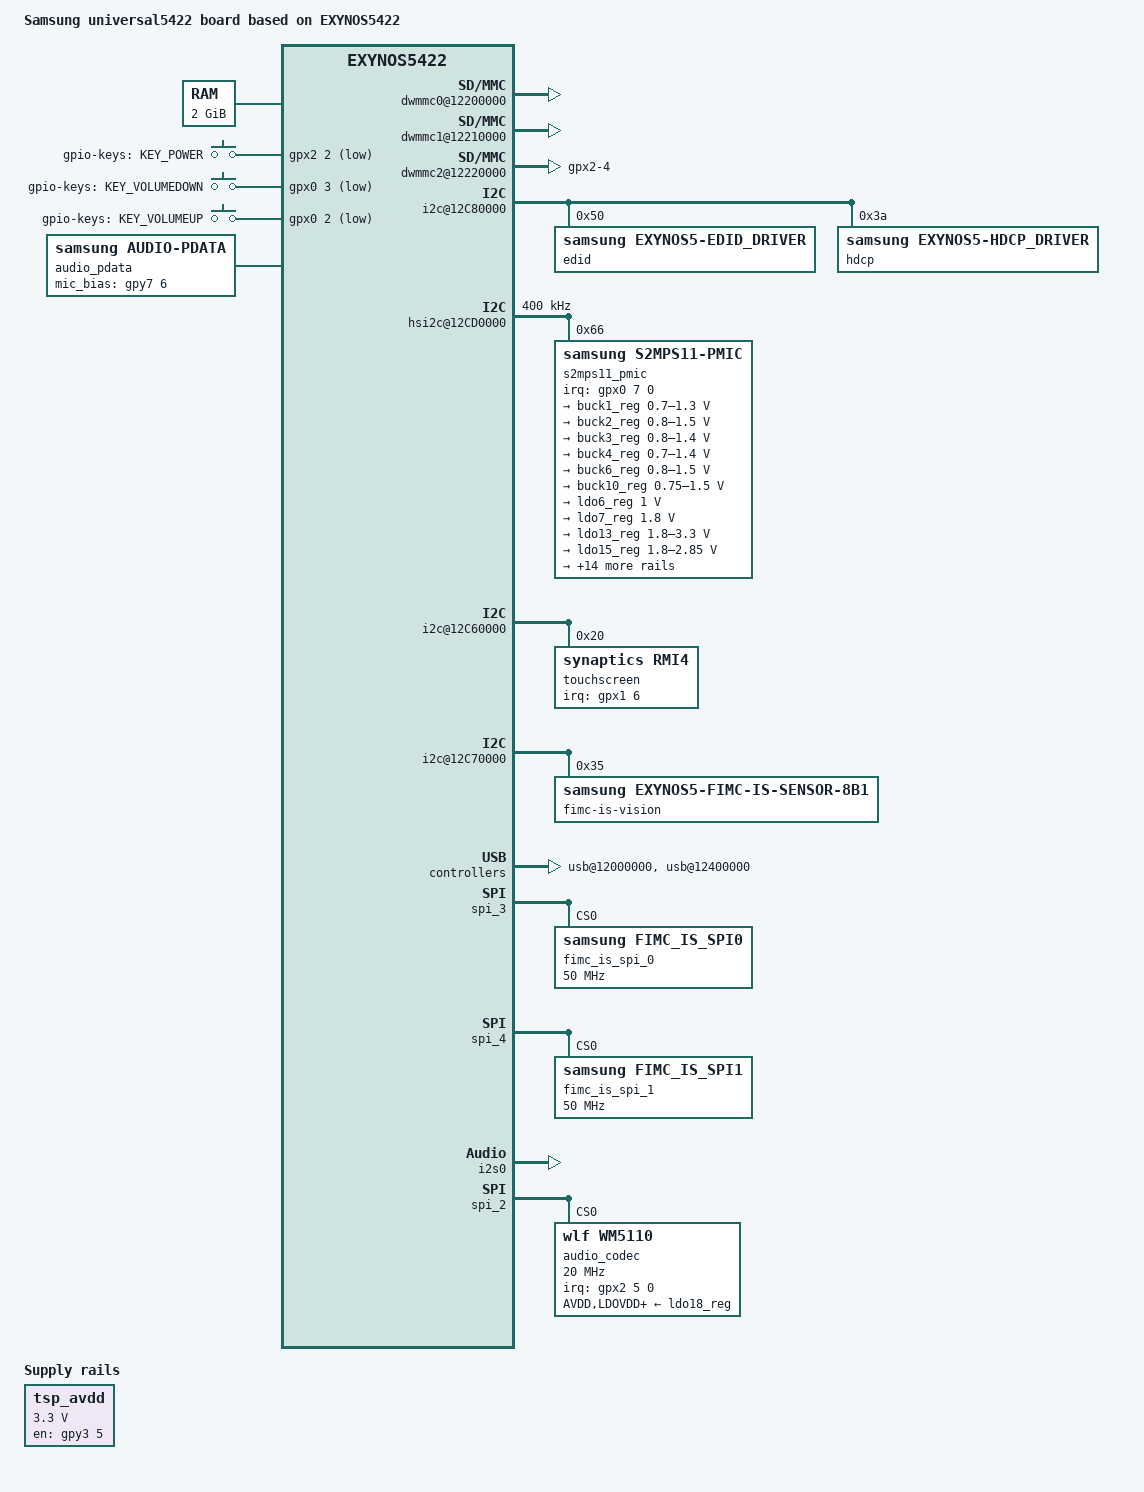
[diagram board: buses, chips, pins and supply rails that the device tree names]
/*
 * SAMSUNG universal5422 board device tree source
 *
 * Copyright (c) 2013 Samsung Electronics Co., Ltd.
 *             http://www.samsung.com
 *
 * This program is free software; you can redistribute it and/or modify
 * it under the terms of the GNU General Public License version 2 as
 * published by the Free Software Foundation.
*/

/dts-v1/;
#include "exynos5422_evt0.dtsi"

/ {
	model = "Samsung universal5422 board based on EXYNOS5422";
	compatible = "samsung,universal5422", "samsung,exynos5422";

	memory {
		reg = <0x40000000 0x80000000>;
	};

	chosen {
		bootargs = "console=ttySAC2,115200 vmalloc=512M ess_setup=0x46000000";
	};

	fixed-rate-clocks {
		oscclk {
			compatible = "samsung,exynos5422-oscclk";
			clock-frequency = <24000000>;
		};
	};

	rtc {
		status = "okay";
	};

	dwmmc0@12200000 {
		status = "okay";
		num-slots = <1>;
		broken-cd;
		bypass-smu;
		fixed_volt;
		only_once_tune;
		extra_tuning;
		supports-highspeed;
		supports-hs200-1-8v-mode;
		supports-ddr200-1-8v-mode;
		enable-cache-control;
		sw_data_timeout;
		fifo-depth = <0x40>;
		card-detect-delay = <200>;
		qos_int_level = <222000>;
		samsung,dw-mshc-ciu-div = <3>;
		samsung,dw-mshc-sdr-timing = <3 0 4 0>;
		samsung,dw-mshc-ddr-timing = <3 0 2 0>;
		samsung,dw-mshc-hs200-timing = <3 0 2 0>;
		samsung,dw-mshc-ddr200-timing = <1 1 2 0>;
		clk_pin = "gpc0-0";
		clk_addr = "13410000.pinctrl";
		clk_val = <0x3>;
		clk_str_num = <4>;
		num-ref-clks = <8>;
		ciu_clkin = <20812500 41625000 41625000 83250000 166500000 83250000 166500000 333000000>;
		pinctrl-names = "default";
		pinctrl-0 = <&sd0_clk &sd0_cmd &sd0_rdqs &sd0_bus1 &sd0_bus4 &sd0_bus8>;

		slot@0 {
			reg = <0>;
			bus-width = <8>;
		};
	};

	dwmmc1@12210000 {
		status = "okay";
		num-slots = <1>;
		fixed_volt;
		only_once_tune;
		supports-highspeed;
		sw_data_timeout;
		fifo-depth = <0x40>;
		card-detect-delay = <200>;
		qos_int_level = <222000>;
		samsung,dw-mshc-ciu-div = <3>;
		samsung,dw-mshc-sdr-timing = <3 0 2 0>;
		samsung,dw-mshc-ddr-timing = <3 0 2 0>;
		clk_pin = "gpc1-0";
		clk_addr = "13410000.pinctrl";
		clk_val = <0x3>;
		clk_str_num = <4>;
		num-ref-clks = <8>;
		ciu_clkin = <25000000 50000000 50000000 100000000 200000000 100000000 200000000 400000000>;
		pinctrl-names = "default";
		pinctrl-0 = <&sd1_clk &sd1_cmd &sd1_bus1 &sd1_bus4>;

		slot@0 {
			reg = <0>;
			bus-width = <4>;
		};
	};


	dwmmc2@12220000 {
		status = "okay";
		num-slots = <1>;
		supports-highspeed;
		sw_data_timeout;
		fifo-depth = <0x40>;
		card-detect-delay = <200>;
		qos_int_level = <222000>;
		samsung,dw-mshc-ciu-div = <3>;
		samsung,dw-mshc-sdr-timing = <3 0 4 0>;
		samsung,dw-mshc-ddr-timing = <3 0 2 0>;
		clk_pin = "gpc2-0";
		clk_addr = "13410000.pinctrl";
		clk_val = <0x3>;
		clk_str_num = <4>;
		num-ref-clks = <8>;
		ciu_clkin = <20812500 41625000 41625000 83250000 166500000 83250000 166500000 333000000>;
		pinctrl-names = "default";
		pinctrl-0 = <&sd2_clk &sd2_cmd &sd2_cd &sd2_bus1 &sd2_bus4 &dwmmc2_cd_irq>;

		gpio-controller;
		#gpio-cells = <2>;
		cd-gpio = <&gpx2 4 0xf>;

		slot@0 {
			reg = <0>;
			bus-width = <4>;
			disable-wp;
		};
	};

	pinctrl@13400000 {
		pmic_irq: pmic-irq {
			samsung,pins = "gpx0-7";
			samsung,pin-pud = <3>;
			samsung,pin-drv = <3>;
		};

		dwmmc2_cd_irq: dwmmc2-cd-irq {
			samsung,pins = "gpx2-4";
			samsung,pin-function = <0>;
			samsung,pin-pud = <3>;
			samsung,pin-drv = <3>;
		};
	};

	pinctrl@13410000 {
		pm_wrsti: pm-wrsti {
			samsung,pins = "gpy3-0";
			samsung,pin-con-pdn = <3>;
		};
	};

	i2c@12C80000 {
		status = "okay";
		/* hdmi edid dirver */
		edid@50 {
			compatible = "samsung,exynos5-edid_driver";
			reg = <0x50>;
		};

		/* hdmi hdcp dirver */
		hdcp@3A {
			compatible = "samsung,exynos5-hdcp_driver";
			reg = <0x3A>;
		};
	};

	hsi2c@12CD0000 {
		clock-frequency = <400000>;
		status = "okay";

		s2mps11_pmic@66 {
			compatible = "samsung,s2mps11-pmic";
			reg = <0x66>;
			interrupts = <7 0 0>;
			interrupt-parent = <&gpx0>;
			pinctrl-names = "default";
			pinctrl-0 = <&pmic_irq &pm_wrsti>;
			/* RTC: wtsr/smpl */
			wtsr_en = <1>; /* enable */
			smpl_en = <1>; /* enable */
			wtsr_timer_val = <3>;	/* 1000ms */
			smpl_timer_val = <0>;	/* 500ms */
			check_jigon = <0>; /* do not check jigon */
			/* RTC: If it's first boot, reset rtc to 1/1/2014 12:00:00(Wed) */
			init_time,sec = <0>;
			init_time,min = <0>;
			init_time,hour = <12>;
			init_time,mday = <1>;
			init_time,mon = <0>;
			init_time,year = <114>;
			init_time,wday = <3>;

			regulators {
				buck1_reg: BUCK1 {
					regulator-name = "vdd_mif";
					regulator-min-microvolt = <700000>;
					regulator-max-microvolt = <1300000>;
					regulator-always-on;
					regulator-boot-on;
					regulator-ramp-delay = <12000>;
					regulator-initial-mode = <1>;
				};

				buck2_reg: BUCK2 {
					regulator-name = "vdd_eagle";
					regulator-min-microvolt = <800000>;
					regulator-max-microvolt = <1500000>;
					regulator-always-on;
					regulator-boot-on;
					regulator-ramp-delay = <12000>;
					regulator-initial-mode = <1>;
				};

				buck3_reg: BUCK3 {
					regulator-name = "vdd_int";
					regulator-min-microvolt = <800000>;
					regulator-max-microvolt = <1400000>;
					regulator-always-on;
					regulator-boot-on;
					regulator-ramp-delay = <12000>;
					regulator-initial-mode = <1>;
				};

				buck4_reg: BUCK4 {
					regulator-name = "vdd_g3d";
					regulator-min-microvolt = <700000>;
					regulator-max-microvolt = <1400000>;
					regulator-always-on;
					regulator-boot-on;
					regulator-ramp-delay = <12000>;
					regulator-initial-mode = <1>;
				};

				buck6_reg: BUCK6 {
					regulator-name = "vdd_kfc";
					regulator-min-microvolt = <800000>;
					regulator-max-microvolt = <1500000>;
					regulator-always-on;
					regulator-boot-on;
					regulator-ramp-delay = <12000>;
					regulator-initial-mode = <1>;
				};

				buck10_reg: BUCK10 {
					regulator-name = "vdd_cam_isp_1.0v";
					regulator-min-microvolt = <750000>;
					regulator-max-microvolt = <1500000>;
					regulator-always-on;
					regulator-boot-on;
					regulator-ramp-delay = <12000>;
					regulator-initial-mode = <1>;
				};

				ldo6_reg: LDO6 {
					regulator-name = "vdd_ldo6";
					regulator-min-microvolt = <1000000>;
					regulator-max-microvolt = <1000000>;
					regulator-always-on;
					regulator-initial-mode = <1>;
				};

				ldo7_reg: LDO7 {
					regulator-name = "vdd_ldo7";
					regulator-min-microvolt = <1800000>;
					regulator-max-microvolt = <1800000>;
					regulator-always-on;
					regulator-initial-mode = <1>;
				};

				ldo13_reg: LDO13 {
					regulator-name = "vqmmc";
					regulator-min-microvolt = <1800000>;
					regulator-max-microvolt = <3300000>;
					regulator-boot-on;
					regulator-ramp-delay = <12000>;
					regulator-initial-mode = <1>;
				};

				ldo15_reg: LDO15 {
					regulator-name = "vdd_ldo15";
					regulator-min-microvolt = <1800000>;
					regulator-max-microvolt = <2850000>;
					regulator-always-on;
					regulator-initial-mode = <1>;
				};

				ldo16_reg: LDO16 {
					regulator-name = "vdd_ldo16";
					regulator-min-microvolt = <2200000>;
					regulator-max-microvolt = <2200000>;
					regulator-always-on;
					regulator-initial-mode = <1>;
				};

				ldo18_reg: LDO18 {
					regulator-name = "vdd_ldo18";
					regulator-min-microvolt = <1800000>;
					regulator-max-microvolt = <1800000>;
					regulator-always-on;
					regulator-initial-mode = <3>;
				};

				ldo19_reg: LDO19 {
					regulator-name = "vmmc";
					regulator-min-microvolt = <1800000>;
					regulator-max-microvolt = <2850000>;
					regulator-always-on;
					regulator-initial-mode = <1>;
				};

				ldo20_reg: LDO20 {
					regulator-name = "vdd_ldo20";
					regulator-min-microvolt = <1000000>;
					regulator-max-microvolt = <2100000>;
					regulator-always-on;
					regulator-initial-mode = <3>;
				};

				ldo21_reg: LDO21 {
					regulator-name = "vdd_ldo21";
					regulator-min-microvolt = <1000000>;
					regulator-max-microvolt = <2100000>;
					regulator-always-on;
					regulator-initial-mode = <3>;
				};

				ldo22_reg: LDO22 {
					regulator-name = "vdd_ldo22";
					regulator-min-microvolt = <800000>;
					regulator-max-microvolt = <1350000>;
					regulator-always-on;
					regulator-initial-mode = <3>;
				};

				ldo23_reg: LDO23 {
					regulator-name = "vdd_mifs";
					regulator-min-microvolt = <800000>;
					regulator-max-microvolt = <1100000>;
					regulator-always-on;
					regulator-initial-mode = <1>;
					regulator-ramp-delay = <12000>;
				};

				ldo24_reg: LDO24 {
					regulator-name = "vdd_ldo24";
					regulator-min-microvolt = <2800000>;
					regulator-max-microvolt = <2800000>;
					regulator-always-on;
					regulator-initial-mode = <1>;
				};

				ldo25_reg: LDO25 {
					regulator-name = "vdd_ldo25";
					regulator-min-microvolt = <1800000>;
					regulator-max-microvolt = <1800000>;
					regulator-always-on;
					regulator-initial-mode = <1>;
				};

				ldo26_reg: LDO26 {
					regulator-name = "vdd_ldo26";
					regulator-min-microvolt = <1800000>;
					regulator-max-microvolt = <2850000>;
					regulator-always-on;
					regulator-initial-mode = <1>;
				};

				ldo27_reg: LDO27 {
					regulator-name = "vdd_g3ds";
					regulator-min-microvolt = <800000>;
					regulator-max-microvolt = <1100000>;
					regulator-always-on;
					regulator-initial-mode = <1>;
					regulator-ramp-delay = <12000>;
				};

				ldo28_reg: LDO28 {
					regulator-name = "vdd_ldo28";
					regulator-min-microvolt = <3000000>;
					regulator-max-microvolt = <3000000>;
					regulator-always-on;
					regulator-initial-mode = <1>;
				};

				ldo31_reg: LDO31 {
					regulator-name = "vdd_ldo31";
					regulator-min-microvolt = <1000000>;
					regulator-max-microvolt = <2100000>;
					regulator-always-on;
					regulator-initial-mode = <3>;
				};

				ldo32_reg: LDO32 {
					regulator-name = "tsp_io";
					regulator-min-microvolt = <1000000>;
					regulator-max-microvolt = <2100000>;
				};
			};
		};
	};

	gpio_keys {
		compatible = "gpio-keys";
		#address-cells = <1>;
		#size-cells = <0>;
		poll-interval = <100>;

		button@1 {
			label = "gpio-keys: KEY_POWER";
			interrupts = <2 0 0>;
			interrupt-parent = <&gpx2>;
			linux,code = <116>;
			gpios = <&gpx2 2 0xf>;
			gpio-key,wakeup = <1>;
		};
		button@2 {
			label = "gpio-keys: KEY_VOLUMEDOWN";
			interrupts = <3 0 0>;
			interrupt-parent = <&gpx0>;
			linux,code = <114>;
			gpios = <&gpx0 3 0xf>;
		};
		button@3 {
			label = "gpio-keys: KEY_VOLUMEUP";
			interrupts = <2 0 0>;
			interrupt-parent = <&gpx0>;
			linux,code = <115>;
			gpios = <&gpx0 2 0xf>;
		};
	};

	tsp_avdd_en {
		compatible = "regulator-fixed";
		regulator-name = "tsp_avdd";
		regulator-min-microvolt = <3300000>;
		regulator-max-microvolt = <3300000>;
		gpio = <&gpy3 5 0>;
		enable-active-high;
	};

	pinctrl@13400000 {
		attn_irq: attn-irq {
			  samsung,pins = "gpx1-6";
			  samsung,pin-function = <0xf>;
			  samsung,pin-pud = <0>;
			  samsung,pin-drv = <0>;
		};

		attn_input: attn-input {
			  samsung,pins = "gpx1-6";
			  samsung,pin-function = <0>;
			  samsung,pin-pud = <1>;
			  samsung,pin-drv = <0>;
		};
	};

	i2c@12C60000 {
		status = "okay";
		samsung,i2c-sda-delay = <100>;
		samsung,i2c-max-bus-freq = <400000>;
		#size-cells = <0>;
		status = "okay";
		touchscreen@20 {
			compatible = "synaptics,rmi4";
			reg = <0x20>;
			pinctrl-names = "on_state", "off_state";
			pinctrl-0 = <&attn_irq>;
			pinctrl-1 = <&attn_input>;
			synaptics,irq_gpio = <&gpx1 6 0>;
			synaptics,irq_type = <8200>;
			synaptics,max_coords = <1079 1919>;	/* x y */
			synaptics,num_lines = <29 16>;		/* rx tx */

			synaptics,regulator_dvdd = "tsp_io";
			synaptics,regulator_avdd = "tsp_avdd";
			synaptics,project_name = "";
		};
	};

	/* vision */
	i2c@12C70000 {
		status = "okay";
		samsung,i2c-sda-delay = <100>;
		samsung,i2c-max-bus-freq = <400000>;
		status = "okay";
		fimc-is-vision@20 {
			compatible = "samsung,exynos5-fimc-is-sensor-8b1";
			reg = <0x35>;
		};
	};

	usb@12000000 {
		status = "okay";
		/* using gpio (1:use, 0:not use) */
		is_gpio = <0>;

		dwc3 {
			maximum-speed = "super-speed";
			dr_mode = "otg";
		};
	};

	usb@12400000 {
		status = "okay";
		/* using gpio (1:use, 0:not use) */
		is_gpio = <0>;

		dwc3 {
			maximum-speed = "super-speed";
			dr_mode = "otg";
		};
	};

	usb@12110000 {
		/* using gpio (1:use, 0:not use) */
		is_gpio = <0>;
	};

/*disp_driver {*/
	fimd_fb: fimd_fb {
	lcd_info = <&s6e3fa2>;
		gpios = <&gpd1 7 0xf>;
		fimd: fimd_ctrl {
			samsung,left_margin = <10>;
			samsung,right_margin = <10>;
			samsung,upper_margin = <4>;
			samsung,lower_margin = <3>;
			samsung,hsync_len = <10>;
			samsung,vsync_len = <1>;
			samsung,xres = <1080>;
			samsung,yres = <1920>;
			samsung,virtual_x = <1080>;
			samsung,virtual_y = <1920>;

			samsung,width = <71>;
			samsung,height = <114>;
			samsung,max_bpp = <32>;
			samsung,default_bpp = <24>;

			fb_driver_data {
				fb_win_variant_0 {
					has_osd_c = <1>;
					has_osd_d = <0>;
					has_osd_alpha = <0>;
					osd_size_off = <0x08>;
					palette_size = <256>;
					VALID_BPP_1248 = <1>;
					VALID_BPP_13 = <1>;
					VALID_BPP_15 = <1>;
					VALID_BPP_16 = <1>;
					VALID_BPP_18 = <1>;
					VALID_BPP_19 = <1>;
					VALID_BPP_24 = <1>;
					VALID_BPP_25 = <1>;
					VALID_BPP_32 = <1>;
				};
				fb_win_variant_1 {
					has_osd_c = <1>;
					has_osd_d = <1>;
					has_osd_alpha = <1>;
					osd_size_off = <0x0c>;
					palette_size = <256>;
					VALID_BPP_1248 = <1>;
					VALID_BPP_13 = <1>;
					VALID_BPP_15 = <1>;
					VALID_BPP_16 = <1>;
					VALID_BPP_18 = <1>;
					VALID_BPP_19 = <1>;
					VALID_BPP_24 = <1>;
					VALID_BPP_25 = <1>;
					VALID_BPP_32 = <1>;
				};
				fb_win_variant_2 {
					has_osd_c = <1>;
					has_osd_d = <1>;
					has_osd_alpha = <1>;
					osd_size_off = <0x0c>;
					palette_size = <256>;
					VALID_BPP_1248 = <1>;
					VALID_BPP_13 = <1>;
					VALID_BPP_15 = <1>;
					VALID_BPP_16 = <1>;
					VALID_BPP_18 = <1>;
					VALID_BPP_19 = <1>;
					VALID_BPP_24 = <1>;
					VALID_BPP_25 = <1>;
					VALID_BPP_32 = <1>;
				};
				fb_win_variant_3 {
					has_osd_c = <1>;
					has_osd_d = <0>;
					has_osd_alpha = <1>;
					osd_size_off = <0x0>;
					palette_size = <256>;
					VALID_BPP_1248 = <1>;
					VALID_BPP_13 = <1>;
					VALID_BPP_15 = <1>;
					VALID_BPP_16 = <1>;
					VALID_BPP_18 = <1>;
					VALID_BPP_19 = <1>;
					VALID_BPP_24 = <1>;
					VALID_BPP_25 = <1>;
					VALID_BPP_32 = <1>;
				};
				fb_win_variant_4 {
					has_osd_c = <1>;
					has_osd_d = <0>;
					has_osd_alpha = <1>;
					osd_size_off = <0x0>;
					palette_size = <256>;
					VALID_BPP_1248 = <1>;
					VALID_BPP_13 = <1>;
					VALID_BPP_15 = <1>;
					VALID_BPP_16 = <1>;
					VALID_BPP_18 = <1>;
					VALID_BPP_19 = <1>;
					VALID_BPP_24 = <1>;
					VALID_BPP_25 = <1>;
					VALID_BPP_32 = <1>;
				};
			};
		};
		mipi_dsi: mipi_dsi {
			gpios = <&gpy3 2 0x1>, <&gpy7 4 0x1>, <&gpb0 0 0x1>;

			interrupt-parent = <&gic>;
			interrupts = <0 82 0>;
			/* Interface definition: 0 - DSIM_COMMAND,
						 1 - DSIM_VIDEO */
			e_interface = <0>;

			/* Pixel format : 0 - DSIM_CMD_3BPP,
					  1 - DSIM_CMD_8BPP,
					  2 - DSIM_CMD_12BPP,
					  3 - DSIM_CMD_16BPP,
					  4 - DSIM_VID_16BPP_565,
					  5 - DSIM_VID_18BPP_666PACKED,
					  6 - DSIM_18BPP_666LOOSELYPACKED,
					  7 - DSIM_24BPP_888 */
			e_pixel_format = <7>;

			/* main frame fifo auto flush at VSYNC pulse */
			auto_flush = <0>;
			eot_disable = <1>;
			auto_vertical_cnt = <0>;
			hse = <0>;
			hfp = <0>;
			hbp = <0>;
			hsa = <0>;

			/* num of data lane : 0 - DSIM_DATA_LANE_1,
					      1 - DSIM_DATA_LANE_2,
					      2 - DSIM_DATA_LANE_3,
					      3 - DSIM_DATA_LANE_4 */
			e_no_data_lane = <3>;
			/* byte clock divider : 0 - DSIM_PLL_OUT_DIV8,
						1 - DSIM_EXT_CLK_DIV8,
						2 - DSIM_EXT_CLK_BYPASS */
			e_byte_clk = <0>;
			/* Burst mode : 0 - DSIM_NON_BURST_SYNC_EVENT,
					2 - DSIM_NON_BURST_SYNC_PULSE,
					1 - DSIM_BURST
					4 - DSIM_NON_VIDEO_MODE */
			e_burst_mode = <1>;
			/* PMS
			   - 1. LCD_S6E8AA0 : p - 4, m - 80, s - 2
			   - 2. LCD_S6E3FA0(COMMAND): p - 2, m - 46, s - 1
			   - 3. LCD_S6E3FA0(VIDEO): p - 4, m - 75, s - 1
			   - 4. LCD_S6E3HA0(COMMAND): p - 2, m - 46, s - 1*/
			p = <2>;
			m = <46>;
			s = <1>;
			/* D-PHY PLL stable time spec :min = 200usec ~ max 400usec */
			pll_stable_time = <500>;
			/* escape clk : 7MHz */
			esc_clk = <7000000>;
			/* stop state holding counter after bta change count 0 ~ 0xfff */
			stop_holding_cnt = <0x0fff>;
			/* bta timeout 0 ~ 0xff */
			bta_timeout = <0xff>;
			/* lp rx timeout 0 ~ 0xffff */
			rx_timeout = <0xffff>;
		};
		decon_mic: decon_mic {
			sysreg1 = <0x10050214>;
		};
		s6e3fa2: s6e3fa2_fhd {
			mode = <0>;
			resolution = <1080 1920>;
			size = <70 121>;
			timing,refresh = <60>;
			timing,h-porch = <10 10 10>;
			timing,v-porch = <4 3 1>;
			timing,dsi-hs-clk = <1092>;
			timing,dsi-escape-clk = <19>;
			mic = <0>;
		};
	};

	spi_3: spi@131a0000 {
		#address-cells = <1>;
		#size-cells = <0>;

		fimc_is_spi_0@0 {
			compatible = "samsung,fimc_is_spi0";
			spi-max-frequency = <50000000>;
			reg = <0x0>;
			pinctrl-names = "default";
			pinctrl-0 = <&fimc_is_comp_int>;

			controller-data {
				samsung,spi-feedback-delay = <0>;
			};
		};
	};

	spi_4: spi@131b0000 {
		#address-cells = <1>;
		#size-cells = <0>;

		fimc_is_spi_1@0 {
			compatible = "samsung,fimc_is_spi1";
			spi-max-frequency = <50000000>;
			reg = <0x0>;

			controller-data {
				samsung,spi-feedback-delay = <0>;
			};
		};
	};

	/* CAMIF0 - MIPI-CSIS0, FIMC-Lite0 driver */
	fimc_is_sensor0: fimc_is_sensor@13C00000 {
		scenario = <0>;
		gpio_reset = <&gpe0 4 0x1>;
		gpios_comp_en = <&gpe0 5 0x1>; /* COMP_EN */
		gpios_comp_reset = <&gpd1 0 0x1>; /* COMP_rstn */
		gpios_cam_en = <&gpd1 6 0x1>; /* MAIN_CAM_A2.8V_EN */
		id = <0>;
		mclk_ch = <0>;
		csi_ch = <0>;
		flite_ch = <0>;
		i2c_ch = <0x100>;
		i2c_addr = <0x5A5A>;
		flash_first_gpio = <1>; /* XISPGP2 */
		flash_second_gpio = <2>;
		is_bns = <1>;
		status = "okay";
	};

	/* CAMIF1 - MIPI-CSIS1, FIMC-Lite1 driver */
	fimc_is_sensor1: fimc_is_sensor@13C10000 {
		scenario = <0>;
		gpio_reset = <&gpe0 3 0x1>;
		gpio_standby = <&gpe0 0 0x1>;
		gpios_cam_en = <&gpd1 2 0x1>; /* VT_CAM_1.2V_EN */
		id = <1>;
		mclk_ch = <2>;
		csi_ch = <1>;
		flite_ch = <1>;
		i2c_ch = <0x2>;
		i2c_addr = <0x6A>;
		is_bns = <0>;
		status = "okay";
	};

	/* FIMC-IS driver */
	fimc_is@13000000 {
		fimc_is_dvfs {
			default_int = <600000>; /* L0 */
			default_cam = <666000>; /* L0 */
			default_mif = <825000>; /* L0 */
			default_i2c = <0>;

			front_preview_int = <460000>; /* L1-2 */
			front_preview_cam = <333000>; /* L3 */
			front_preview_mif = <413000>; /* L4 */
			front_preview_i2c = <0>;

			front_capture_int = <460000>; /* L1-2 */
			front_capture_cam = <333000>; /* L3 */
			front_capture_mif = <413000>; /* L4 */
			front_capture_i2c = <0>;

			front_camcording_int = <460000>; /* L1-2 */
			front_camcording_cam = <333000>; /* L3 */
			front_camcording_mif = <413000>; /* L4 */
			front_camcording_i2c = <0>;

			front_vt1_int = <460000>; /* L1-2 */
			front_vt1_cam = <333000>; /* L3 */
			front_vt1_mif = <413000>; /* L4 */
			front_vt1_i2c = <0>;

			front_vt2_int = <460000>; /* L1-2 */
			front_vt2_cam = <333000>; /* L3 */
			front_vt2_mif = <413000>; /* L4 */
			front_vt2_i2c = <0>;

			rear_preview_fhd_int = <500000>; /* L1 */
			rear_preview_fhd_cam = <222000>; /* L4 */
			rear_preview_fhd_mif = <633000>; /* L2 */
			rear_preview_fhd_i2c = <0>;

			rear_preview_whd_int = <600000>; /* L0 */
			rear_preview_whd_cam = <666000>; /* L0 */
			rear_preview_whd_mif = <825000>; /* L0 */
			rear_preview_whd_i2c = <0>;

			rear_preview_uhd_int = <600000>; /* L0 */
			rear_preview_uhd_cam = <666000>; /* L0 */
			rear_preview_uhd_mif = <825000>; /* L0 */
			rear_preview_uhd_i2c = <0>;

			rear_capture_int = <600000>; /* L0 */
			rear_capture_cam = <666000>; /* L0 */
			rear_capture_mif = <825000>; /* L0 */
			rear_capture_i2c = <0>;

			rear_camcording_fhd_int = <500000>; /* L1 */
			rear_camcording_fhd_cam = <444000>; /* L2 */
			rear_camcording_fhd_mif = <543000>; /* L3 */
			rear_camcording_fhd_i2c = <0>;

			rear_camcording_uhd_int = <600000>; /* L0 */
			rear_camcording_uhd_cam = <666000>; /* L0 */
			rear_camcording_uhd_mif = <825000>; /* L0 */
			rear_camcording_uhd_i2c = <0>;

			dual_preview_int = <600000>; /* L0 */
			dual_preview_cam = <333000>; /* L3 */
			dual_preview_mif = <825000>; /* L0 */
			dual_preview_i2c = <0>;

			dual_capture_int = <600000>; /* L0 */
			dual_capture_cam = <666000>; /* L0 */
			dual_capture_mif = <825000>; /* L0 */
			dual_capture_i2c = <0>;

			dual_camcording_int = <600000>; /* L0 */
			dual_camcording_cam = <333000>; /* L3 */
			dual_camcording_mif = <825000>; /* L0 */
			dual_camcording_i2c = <0>;

			high_speed_fps_int = <600000>; /* L0 */
			high_speed_fps_cam = <666000>; /* L0 */
			high_speed_fps_mif = <825000>; /* L0 */
			high_speed_fps_i2c = <0>;

			dis_enable_int = <600000>; /* L0 */
			dis_enable_cam = <666000>; /* L0 */
			dis_enable_mif = <825000>; /* L0 */
			dis_enable_i2c = <0>;

			max_int = <600000>; /* L0 */
			max_cam = <666000>; /* L0 */
			max_mif = <825000>; /* L0 */
			max_i2c = <0>;
		};
	};

	pinctrl@13400000 {
		/* VT_CAM_ID */
		fimc_is_vt_cam_id: fimc_is_vt_cam_id {
			samsung,pins = "gpy7-2";
			samsung,pin-function = <0>;
			samsung,pin-pud = <0>;
			samsung,pin-drv = <0>;
		};
		/* CAM_SENSOR_DET */
		fimc_is_main_cam_det: imc_is_main_cam_det {
			samsung,pins = "gpy7-3";
			samsung,pin-function = <1>;
			samsung,pin-pud = <0>;
			samsung,pin-drv = <0>;
		};
	};

	pinctrl@13410000 {
		/* MAIN_CAM_A2.8V_EN */
		fimc_is_main_cam_en: fimc_is_main_cam_en {
			samsung,pins = "gpd1-6";
			samsung,pin-function = <1>;
			samsung,pin-pud = <0>;
			samsung,pin-drv = <0>;
		};
		/* VT_CAM_1.2V_EN */
		fimc_is_vt_cam_en: fimc_is_vt_cam_en {
			samsung,pins = "gpd1-2";
			samsung,pin-function = <1>;
			samsung,pin-pud = <0>;
			samsung,pin-drv = <0>;
		};
	};

	pinctrl@14000000 {
		fimc_is_flash: fimc-is-flash {
			samsung,pins = "gpe0-2", "gpe0-1";
			samsung,pin-function = <1>;
			samsung,pin-pud = <0>;
			samsung,pin-drv = <0>;
		};
		/* COMP_SPI_INT */
		fimc_is_comp_int: fimc-is-comp-int {
			samsung,pins = "gpe1-0";
			samsung,pin-function = <3>;
			samsung,pin-pud = <0>;
			samsung,pin-drv = <0>;
		};
	};

	i2s0: i2s@03830000 {
		status = "okay";
	};

	audio_codec_dummy: dummy-codec {
		compatible = "samsung,dummy-codec";
		status = "okay";
	};

        i2s_dummy: dummy-i2s {
                compatible = "samsung,dummy-i2s";
                status = "okay";
        };

	sound {
		compatible = "samsung,universal-dummy";
		samsung,audio-cpu = <&i2s0		/* primary */
				     &i2s0>;		/* secondary */
		samsung,audio-codec = <&audio_codec_dummy
				       &audio_codec_dummy>;
		status = "okay";
	};

	sound {
		compatible = "samsung,universal_wm5110";
		samsung,audio-cpu = <&i2s0              /* primary */
				     &i2s0>;            /* secondary */
		samsung,audio-codec = <&audio_codec
	                               &audio_codec>;
	        status = "okay";
        };

	spi_2: spi@12d40000 {
		#address-cells = <1>;
		#size-cells = <0>;
		pinctrl-names = "default";
		pinctrl-0 = <&spi2_bus>;

                status = "okay";

		audio_codec: wm5110@0 {
			compatible = "wlf,wm5110";
			reg = <0x0>;
			spi-max-frequency = <20000000>;
			interrupts = <5 0 0>;
			interrupt-parent = <&gpx2>;

			gpio-controller;
			#gpio-cells = <2>;

			pinctrl-names ="default";
			pinctrl-0 = <&codec_ctrl &audio_ctrl>;

			wlf,reset = <&gpg2 0 0>;
			wlf,ldoena = <&gpg0 1 0>;
			wlf,micd-detect-debounce = <500>;
			wlf,micd-bias-start-time = <0x1>;
			wlf,micd-rate = <0x7>;
			wlf,micd-dbtime = <0x1>;
			wlf,micd-timeout = <1000>;
			wlf,micd-force-micbias;
			wlf,micd-ranges = <
				139 226
				295 115
				752 114
				1257 217
			>;

			wlf,micd-configs = <
				0x0 1 0
			>;

			wlf,micbias1 = <2800 0 1 0 0>;
			wlf,micbias2 = <1800 0 1 0 0>;
			wlf,micbias3 = <1800 0 1 0 0>;

			wlf,gpio-defaults = <
				0xA101
				0xA101
				0xA101
				0xA101
				0x8101
			>;

			wlf,gpsw = <0x3>;
			wlf,use-jd-gpio;
			wlf,jd-gpio-nopull;
			wlf,micd-software-compare;

			wlf,max-channels-clocked = <2 0 0>;
			/* 0:MICVDD 1:MICBIAS1 2:MICBIAS2 3:MICBIAS3 */
			wlf,dmic-ref = <0 1 3 2>;
			/* 1st cell:IN1 2rd cell:IN2 3nd cell:IN3 4th cell:IN4 */
			wlf,inmode = <2 0 2 2>;

			AVDD-supply = <&ldo18_reg>;
			LDOVDD-supply = <&ldo18_reg>;
			DBVDD1-supply = <&ldo18_reg>;

			CPVDD-supply = <&ldo18_reg>;
			DBVDD2-supply = <&ldo18_reg>;
			DBVDD3-supply = <&ldo18_reg>;
			SPKVDDL-supply = <&ldo18_reg>;
			SPKVDDR-supply = <&ldo18_reg>;

			controller-data {
				cs-gpio = <&gpb1 2 0>;
				samsung,spi-feedback-delay = <0>;
			};
		};
	};

	audio_pdata {
		compatible = "samsung,audio-pdata";

		mic_bias_gpio = <&gpy7 6 0>;
		status = "okay";
	};

	pinctrl@13400000 {
		audio_ctrl: audio-ctl {
			samsung,pins = "gpy7-6";
			samsung,pin-con-pdn = <3>;
		};

	};

	pinctrl@14000000 {
		codec_ctrl: codec-ctl {
			samsung,pins ="gpg2-0", "gpg0-1";
			samsung,pin-con-pdn =<3>;
		};

	};

	pinctrl@13400000 {
		cfg_btgpio: cfg-btgpio {
			samsung,pins = "gpx2-1";
			samsung,pin-function = <0>;
			samsung,pin-pud = <0x03>;
		};
	};

	ion {
		compatible = "samsung,exynos5430-ion";

		contig-names = "common",
			       "mfc_sh",
			       "g2d_wfd",
			       "video",
			       "sectbl",
			       "mfc_fw",
			       "mfc_nfw",
			       "secdma";

		contig = <0 0x400000 0x0>,
		         <2 0x100000 0x0>,
		         <10 0x800000 0x0>,
		         <11 0xDE00000 0x0>,
		         <9 0x100000 0x0>,
		         <8 0x100000 0x0>,
		         <12 0x100000 0x0>,
		         <13 0x20000 0x0>;

		contig-isolate_on_boot = <0>, <2>, <8>,
					  <9>, <10>, <11>, <12>, <13>;

		ion_noncontig_heap {
			id-type = <0 0>;
		};

		exynos_contig_heap {
			id-type = <4 6>;
		};
	};

	ipa_pdata {
		compatible = "samsung,exynos-ipa";

		control_temp = <81>;
		temp_threshold = <30>;
		enabled = <1>;
		tdp = <3500>;
		boost = <1>;
		ros_power = <500>;
		a7_weight = <1024>;
		a15_weight = <256>;
		gpu_weight = <1024>;
		a7_max_power = <1000>;
		a15_max_power = <6552>;
		gpu_max_power = <3110>;
		hotplug_out_threshold = <10>;
		hotplug_in_threshold = <2>;
		enable_ctlr = <1>;
		ctlr.mult = <2>;
		ctlr.k_i = <1>;
		ctlr.k_d = <0>;
		ctlr.feed_forward = <1>;
		ctlr.integral_reset_value = <0>;
		ctlr.integral_cutoff = <0>;
		ctlr.integral_reset_threshold = <10>;
	};
};
